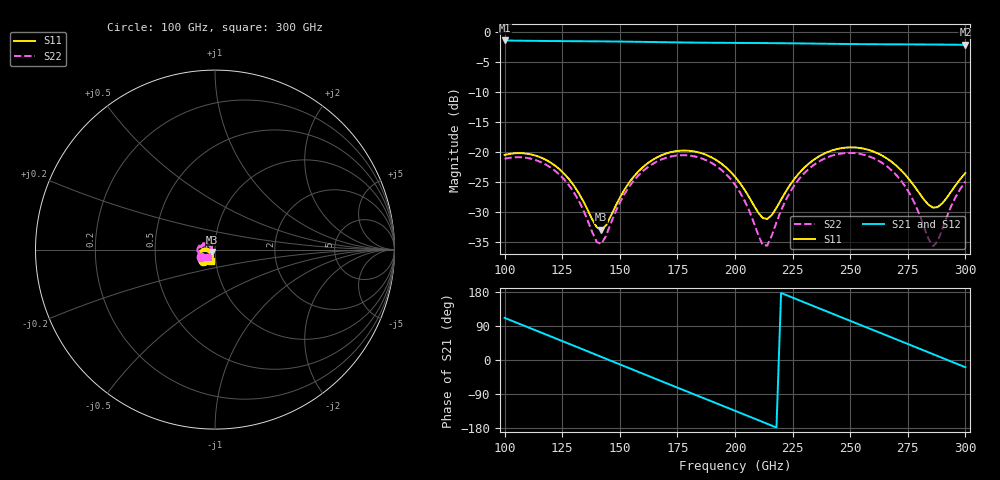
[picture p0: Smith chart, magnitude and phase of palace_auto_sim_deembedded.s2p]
! Created with skrf 1.11.0 (http://scikit-rf.org).
# GHz S DB R 50.0
!freq dBS11 angS11 dBS21 angS21 dBS12 angS12 dBS22 angS22
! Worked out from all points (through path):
!   101 points, 100 GHz to 300 GHz, reference 50 ohm
!   highest |S21| = -1.40 dB at 100 GHz (marker M1); lowest = -2.1 dB at 300 GHz (marker M2)
!   group delay of S21, straight-line fit = 6.81 ps
!   lowest |S11| = -32.9 dB at 142 GHz (marker M3), VSWR 1.05, Z = 48.1 - j1.22 ohm
!   |S11| at or under -10 dB: start of sweep to end of sweep
!   |S22| runs from -35.6 to -20.1 dB; largest |S21 - S12| = 9.8e-14
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100  -20.46 -136.6  -1.40 111.2  -1.40 111.2  -21.10 -150.6
108  -20.17 -152.6  -1.44 91.6  -1.44 91.6  -20.86 -168.3
116  -20.92 -168.0  -1.48 72.0  -1.48 72.0  -21.69 174.6
126  -23.63 176.1  -1.51 47.6  -1.51 47.6  -24.59 156.2
134  -28.05 173.4  -1.53 27.9  -1.53 27.9  -29.50 151.1
140  -32.48 -162.7  -1.55 13.1  -1.55 13.1  -34.95 178.7
142  -32.91 -145.9  -1.55 8.2  -1.55 8.2  -35.25 -159.8
154  -25.08 -109.0  -1.60 -21.4  -1.60 -21.4  -25.77 -126.4
168  -20.52 -128.3  -1.68 -55.8  -1.68 -55.8  -21.22 -150.6
184  -20.00 -157.3  -1.76 -94.9  -1.76 -94.9  -20.84 175.8
200  -24.07 -179.6  -1.81 -134.0  -1.81 -134.0  -25.40 146.7
212  -30.93 -153.9  -1.83 -163.4  -1.83 -163.4  -35.45 175.5
214  -31.11 -139.8  -1.84 -168.3  -1.84 -168.3  -35.53 -160.5
224  -25.38 -107.2  -1.87 167.0  -1.87 167.0  -26.57 -127.4
234  -21.30 -115.3  -1.92 142.5  -1.92 142.5  -22.17 -142.2
244  -19.49 -130.9  -1.97 118.0  -1.97 118.0  -20.37 -162.3
252  -19.21 -144.5  -2.00 98.5  -2.00 98.5  -20.16 -179.0
268  -21.60 -168.3  -2.04 59.4  -2.04 59.4  -23.01 149.4
276  -24.71 -172.3  -2.05 39.8  -2.05 39.8  -27.01 139.3
286  -29.23 -143.9  -2.07 15.3  -2.07 15.3  -35.63 -178.2
290  -28.50 -123.1  -2.09 5.4  -2.09 5.4  -32.78 -140.8
300  -23.46 -107.5  -2.13 -19.1  -2.13 -19.1  -24.88 -134.7
